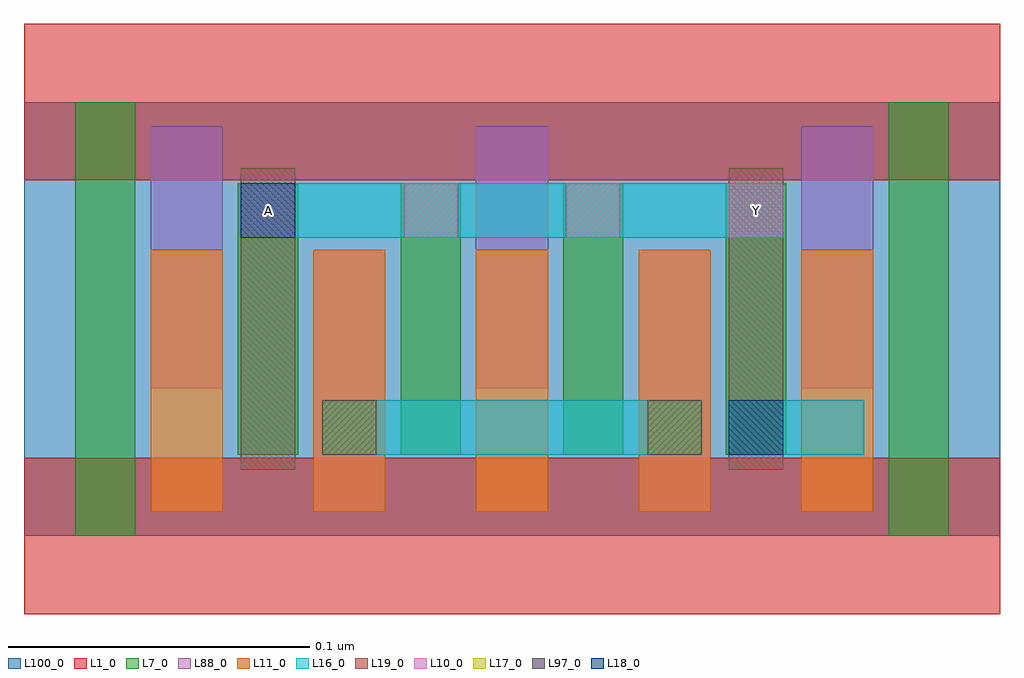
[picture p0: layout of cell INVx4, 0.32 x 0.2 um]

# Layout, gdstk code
import gdstk
lib = gdstk.Library(unit=1e-6, precision=2.5e-10)
def R(c, l, rs):  # rectangles x0, y0, x1, y1
    for r in rs: c.add(gdstk.rectangle(r[:2], r[2:], *l))
def A(c, l, x, y, w, h, nx, ny, dx, dy):  # array of equal rectangles
    R(c, l, [(x+i*dx, y+j*dy, x+i*dx+w, y+j*dy+h) for i in range(nx) for j in range(ny)])
L1_0 = (1, 0)
L7_0 = (7, 0)
L10_0 = (10, 0)
L11_0 = (11, 0)
L16_0 = (16, 0)
L17_0 = (17, 0)
L18_0 = (18, 0)
L19_0 = (19, 0)
L88_0 = (88, 0)
L97_0 = (97, 0)
L100_0 = (100, 0)

invx4 = lib.new_cell('INVx4')
R(invx4, L1_0, [(0,-0.026,0.324,0.026), (0,0.118,0.324,0.17)])
A(invx4, L7_0, 0.071, 0.027, 0.02, 0.09, 4, 1, 0.054, 0)
R(invx4, L7_0, [(0.017,0,0.037,0.144), (0.287,0,0.307,0.144)])
A(invx4, L10_0, 0.072, 0.099, 0.018, 0.018, 4, 1, 0.054, 0)
A(invx4, L11_0, 0.042, 0.008, 0.024, 0.087, 5, 1, 0.054, 0)
R(invx4, L16_0, [(0.099,0.027,0.225,0.045), (0.234,0.027,0.279,0.045), (0.072,0.099,0.252,0.117)])
R(invx4, L17_0, [(0.099,0.027,0.117,0.045), (0.207,0.027,0.225,0.045)])
R(invx4, L18_0, [(0.234,0.027,0.252,0.045), (0.072,0.099,0.09,0.117)])
R(invx4, L19_0, [(0.072,0.022,0.09,0.122), (0.234,0.022,0.252,0.122)])
A(invx4, L88_0, 0.042, 0.049, 0.024, 0.087, 3, 1, 0.108, 0)
R(invx4, L88_0, [(0.096,0.008,0.12,0.095), (0.204,0.008,0.228,0.095)])
R(invx4, L97_0, [(0.099,0.027,0.117,0.045), (0.207,0.027,0.225,0.045)])
R(invx4, L100_0, [(0,0,0.324,0.144)])
invx4.add(gdstk.Label('A', (0.081,0.108), layer=19, texttype=251))
invx4.add(gdstk.Label('Y', (0.243,0.108), layer=19, texttype=251))

lib.write_gds('INVx4.gds')
